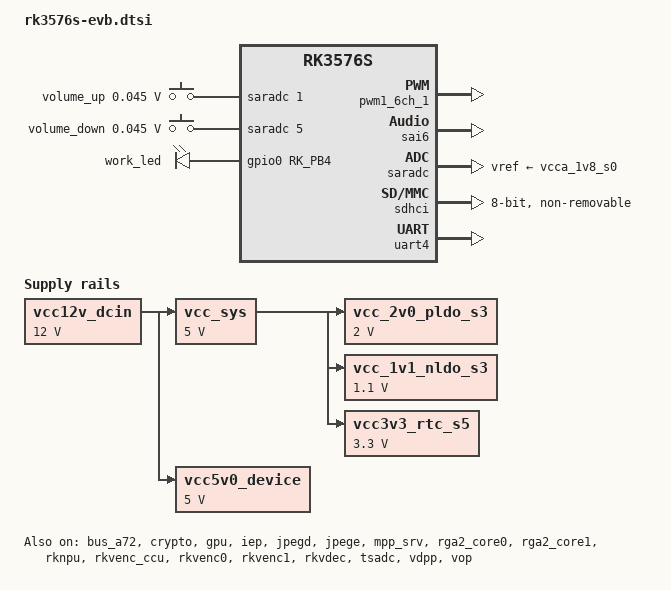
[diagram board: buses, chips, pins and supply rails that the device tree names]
// SPDX-License-Identifier: (GPL-2.0+ OR MIT)
/*
 * Copyright (c) 2024 Rockchip Electronics Co., Ltd.
 *
 */

#include <dt-bindings/gpio/gpio.h>
#include <dt-bindings/pwm/pwm.h>
#include <dt-bindings/pinctrl/rockchip.h>
#include <dt-bindings/input/rk-input.h>
#include <dt-bindings/display/drm_mipi_dsi.h>
#include <dt-bindings/display/rockchip_vop.h>
#include <dt-bindings/sensor-dev.h>
//#include "rk3576-evb-input-keymap.dtsi"

/ {
	adc_keys_ch1:adc-keys-ch1{
		compatible = "adc-keys";
		io-channels = <&saradc 1>;
		io-channel-names = "buttons";
		keyup-threshold-microvolt = <1800000>;
		poll-interval = <100>;

		v_up_key:v-up-key{
			label = "volume_up";
			linux,code = <KEY_VOLUMEUP>;
			press-threshold-microvolt = <45000>;	
		};
	};

	adc_keys_ch5:adc-keys-ch5{
		compatible = "adc-keys";
		io-channels = <&saradc 5>;
		io-channel-names = "buttons";
		keyup-threshold-microvolt = <1800000>;
		poll-interval = <100>;

		v_down_key:v-down-key{
			label = "volume_down";
			linux,code = <KEY_VOLUMEDOWN>;
			press-threshold-microvolt = <45000>;	
		};
	};

	dp0_sound: dp0-sound {
		status = "disabled";
		compatible = "rockchip,hdmi";
		rockchip,mclk-fs = <512>;
		rockchip,card-name = "rockchip-dp0";
		rockchip,cpu = <&spdif_tx3>;
		rockchip,codec = <&dp0 1>;
		rockchip,jack-det;
	};

	dp1_sound: dp1-sound {
		status = "disabled";
		compatible = "rockchip,hdmi";
		rockchip,mclk-fs = <512>;
		rockchip,card-name = "rockchip-dp1";
		rockchip,cpu = <&spdif_tx3>;
		rockchip,codec = <&dp1 1>;
		rockchip,jack-det;
	};

	dp2_sound: dp2-sound {
		status = "disabled";
		compatible = "rockchip,hdmi";
		rockchip,mclk-fs = <512>;
		rockchip,card-name = "rockchip-dp2";
		rockchip,cpu = <&spdif_tx3>;
		rockchip,codec = <&dp2 1>;
		rockchip,jack-det;
	};

	edp_sound: edp-sound {
		status = "disabled";
		compatible = "rockchip,hdmi";
		rockchip,mclk-fs = <128>;
		rockchip,card-name = "rockchip-edp";
		rockchip,cpu = <&sai6>;
		rockchip,codec = <&edp 0>;
	};

	hdmi_sound: hdmi-sound {
		compatible = "rockchip,hdmi";
		rockchip,mclk-fs = <128>;
		rockchip,card-name = "rockchip-hdmi";
		rockchip,cpu = <&sai6>;
		rockchip,codec = <&hdmi>;
		rockchip,jack-det;
	};

	leds: leds {
		compatible = "gpio-leds";
		work_led: work {
			gpios = <&gpio0 RK_PB4 GPIO_ACTIVE_HIGH>;
			linux,default-trigger = "heartbeat";
		};
	};

	test-power {
		status = "okay";
	};

	vcc12v_dcin: vcc12v-dcin {
		compatible = "regulator-fixed";
		regulator-name = "vcc12v_dcin";
		regulator-always-on;
		regulator-boot-on;
		regulator-min-microvolt = <12000000>;
		regulator-max-microvolt = <12000000>;
	};

	vcc_sys: vcc5v0-sys {
		compatible = "regulator-fixed";
		regulator-name = "vcc_sys";
		regulator-always-on;
		regulator-boot-on;
		regulator-min-microvolt = <5000000>;
		regulator-max-microvolt = <5000000>;
		vin-supply = <&vcc12v_dcin>;
	};

	vcc5v0_device: vcc5v0-device {
		compatible = "regulator-fixed";
		regulator-name = "vcc5v0_device";
		regulator-always-on;
		regulator-boot-on;
		regulator-min-microvolt = <5000000>;
		regulator-max-microvolt = <5000000>;
		vin-supply = <&vcc12v_dcin>;
	};

	vcc_2v0_pldo_s3: vcc-2v0-pldo-s3 {
		compatible = "regulator-fixed";
		regulator-name = "vcc_2v0_pldo_s3";
		regulator-boot-on;
		regulator-always-on;
		regulator-min-microvolt = <2000000>;
		regulator-max-microvolt = <2000000>;
		vin-supply = <&vcc_sys>;
	};

	vcc_1v1_nldo_s3: vcc-1v1-nldo-s3 {
		compatible = "regulator-fixed";
		regulator-name = "vcc_1v1_nldo_s3";
		regulator-boot-on;
		regulator-always-on;
		regulator-min-microvolt = <1100000>;
		regulator-max-microvolt = <1100000>;
		vin-supply = <&vcc_sys>;
	};

	vcc3v3_rtc_s5: vcc3v3-rtc-s5 {
		compatible = "regulator-fixed";
		regulator-name = "vcc3v3_rtc_s5";
		regulator-boot-on;
		regulator-always-on;
		regulator-min-microvolt = <3300000>;
		regulator-max-microvolt = <3300000>;
		vin-supply = <&vcc_sys>;
	};
};

&bus_a72 {
	bus-supply = <&vdd_logic_s0>;
	pvtm-supply = <&vdd_logic_s0>;
	status = "okay";
};

&cpu_l0 {
	cpu-supply = <&vdd_cpu_lit_s0>;
};

&cpu_b0 {
	cpu-supply = <&vdd_cpu_big_s0>;
};

&crypto {
	status = "okay";
};

&gpu {
	mali-supply = <&vdd_gpu_s0>;
	status = "okay";
};

&iep {
	status = "okay";
};

&iep_mmu {
	status = "okay";
};

&jpegd {
	status = "okay";
};

&jpege {
	status = "okay";
};

&jpeg_mmu {
	status = "okay";
};

&mpp_srv {
	status = "okay";
};

&pwm1_6ch_1 {
	status = "okay";
	pinctrl-0 = <&pwm1m0_ch1>;
};

&rga2_core0 {
	status = "okay";
};

&rga2_core0_mmu {
	status = "okay";
};

&rga2_core1 {
	status = "okay";
};

&rga2_core1_mmu {
	status = "okay";
};

&rknpu {
	rknpu-supply = <&vdd_npu_s0>;
	status = "okay";
};

&rknpu_mmu {
	status = "okay";
};

&rkvenc_ccu {
	status = "okay";
};

&rkvenc0 {
	status = "okay";
};

&rkvenc0_mmu {
	status = "okay";
};

&rkvenc1 {
	status = "okay";
};

&rkvenc1_mmu {
	status = "okay";

};

&rkvdec {
	status = "okay";
};

&rkvdec_mmu {
	status = "okay";
};

&rockchip_suspend {
	status = "okay";
	rockchip,sleep-debug-en = <1>;

	rockchip,sleep-io-ret-config = <
		(0
		| RKPM_VCCIO3_RET_EN
		)
	>;

	rockchip,regulator-on-before-mem = <&vdd_npu_s0>;
};

&sai6 {
	status = "okay";
};

&saradc {
	status = "okay";
	vref-supply = <&vcca_1v8_s0>;
};

&sdhci {
	bus-width = <8>;
	no-sdio;
	no-sd;
	non-removable;
	max-frequency = <200000000>;
	mmc-hs400-1_8v;
	mmc-hs400-enhanced-strobe;
	full-pwr-cycle-in-suspend;
	status = "okay";
};

&sdmmc {
	max-frequency = <200000000>;
	no-sdio;
	no-mmc;
	bus-width = <4>;
	cap-mmc-highspeed;
	cap-sd-highspeed;
	disable-wp;
	sd-uhs-sdr104;
	vqmmc-supply = <&vccio_sd_s0>;
	status = "disabled";
};

&tsadc {
	status = "okay";
};

&uart4 {
	status = "okay";
	pinctrl-names = "default";
	pinctrl-0 = <&uart4m1_xfer &uart4m1_ctsn>;
};

&ufs {
	reset-gpios = <&gpio4 RK_PD0 GPIO_ACTIVE_HIGH>;
};

&vdpp {
	status = "okay";
};

&vop {
	status = "okay";
	vop-supply = <&vdd_logic_s0>;
};

&vop_mmu {
	status = "okay";
};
